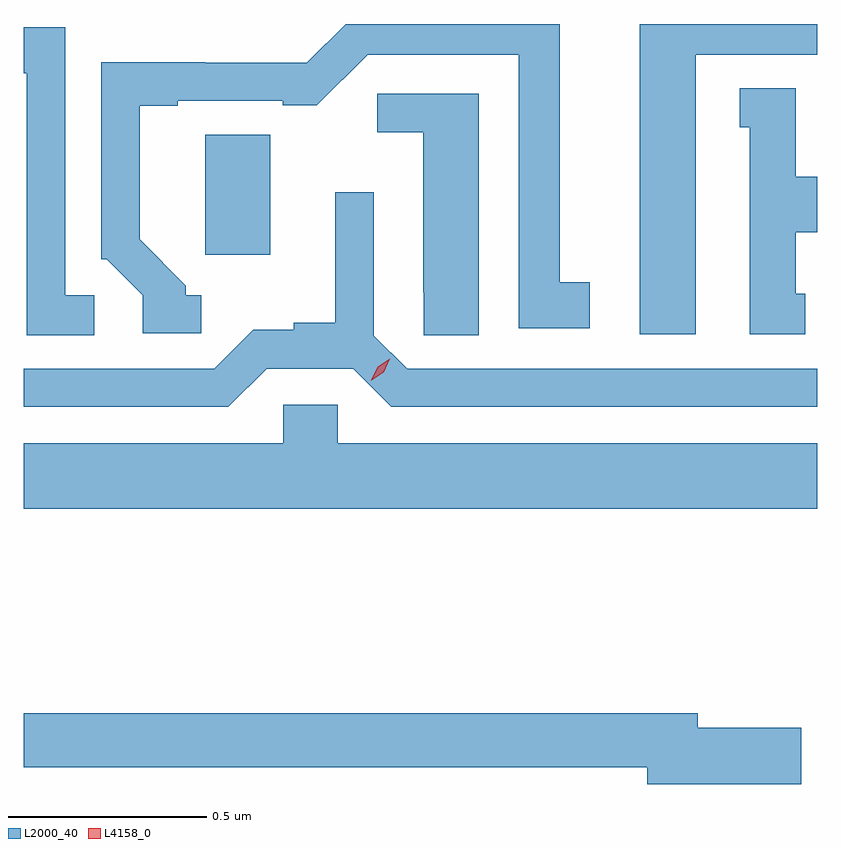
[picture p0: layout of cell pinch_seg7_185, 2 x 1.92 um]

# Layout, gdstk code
import gdstk
lib = gdstk.Library(unit=1e-6, precision=1e-09)
def P(c, l, *ps):  # polygons
    for p in ps: c.add(gdstk.Polygon(p, *l))
L2000_40 = (2000, 40)
L4158_0 = (4158, 0)

pinch_seg7_185 = lib.new_cell('pinch_seg7_185')
P(pinch_seg7_185, L2000_40, [(1125.037,1011.81),(1124.998,1011.81),(1124.998,1011.834),(1124.881,1011.95),(1124.881,1012.287),(1124.977,1012.287),(1124.977,1012.299),(1125.242,1012.299),(1125.242,1012.288),(1125.328,1012.288),(1125.456,1012.416),(1125.836,1012.416),(1125.836,1011.726),(1126.015,1011.726),(1126.015,1011.842),(1125.94,1011.842),(1125.94,1012.493),(1125.401,1012.493),(1125.303,1012.395),(1125.047,1012.395),(1125.047,1012.397),(1124.784,1012.397),(1124.784,1011.9),(1124.799,1011.9),(1124.889,1011.81),(1124.889,1011.714),(1125.037,1011.714)],
  [(1126.282,1012.416),(1126.589,1012.416),(1126.589,1012.493),(1126.142,1012.493),(1126.142,1011.711),(1126.282,1011.711)],
  [(1124.767,1011.81),(1124.694,1011.81),(1124.694,1012.485),(1124.589,1012.485),(1124.589,1012.369),(1124.597,1012.369),(1124.597,1011.709),(1124.767,1011.709)],
  [(1126.558,1011.813),(1126.534,1011.813),(1126.534,1011.968),(1126.589,1011.968),(1126.589,1012.108),(1126.534,1012.108),(1126.534,1012.331),(1126.394,1012.331),(1126.394,1012.233),(1126.418,1012.233),(1126.418,1011.711),(1126.558,1011.711)],
  [(1125.736,1012.317),(1125.48,1012.317),(1125.48,1012.22),(1125.596,1012.22),(1125.596,1011.817),(1125.597,1011.817),(1125.597,1011.709),(1125.736,1011.709)],
  [(1125.211,1012.056),(1125.21,1012.056),(1125.21,1012.214),(1125.047,1012.214),(1125.047,1011.912),(1125.211,1011.912)],
  [(1125.201,1011.624),(1125.419,1011.624),(1125.515,1011.528),(1126.589,1011.528),(1126.589,1011.624),(1125.555,1011.624),(1125.471,1011.708),(1125.471,1012.069),(1125.374,1012.069),(1125.374,1011.74),(1125.27,1011.74),(1125.27,1011.722),(1125.167,1011.722),(1125.069,1011.624),(1124.589,1011.624),(1124.589,1011.528),(1125.105,1011.528)],
  [(1126.589,1011.436),(1125.381,1011.436),(1125.381,1011.534),(1125.243,1011.534),(1125.243,1011.436),(1124.589,1011.436),(1124.589,1011.272),(1126.589,1011.272)],
  [(1126.549,1010.72),(1126.288,1010.72),(1126.288,1010.756),(1124.589,1010.756),(1124.589,1010.62),(1126.16,1010.62),(1126.16,1010.578),(1126.549,1010.578)])
P(pinch_seg7_185, L4158_0, [(1125.465,1011.595),(1125.465,1011.595),(1125.481,1011.629),(1125.512,1011.65),(1125.512,1011.65),(1125.512,1011.65),(1125.496,1011.616),(1125.466,1011.595)])

lib.write_gds('pinch_seg7_185.gds')
